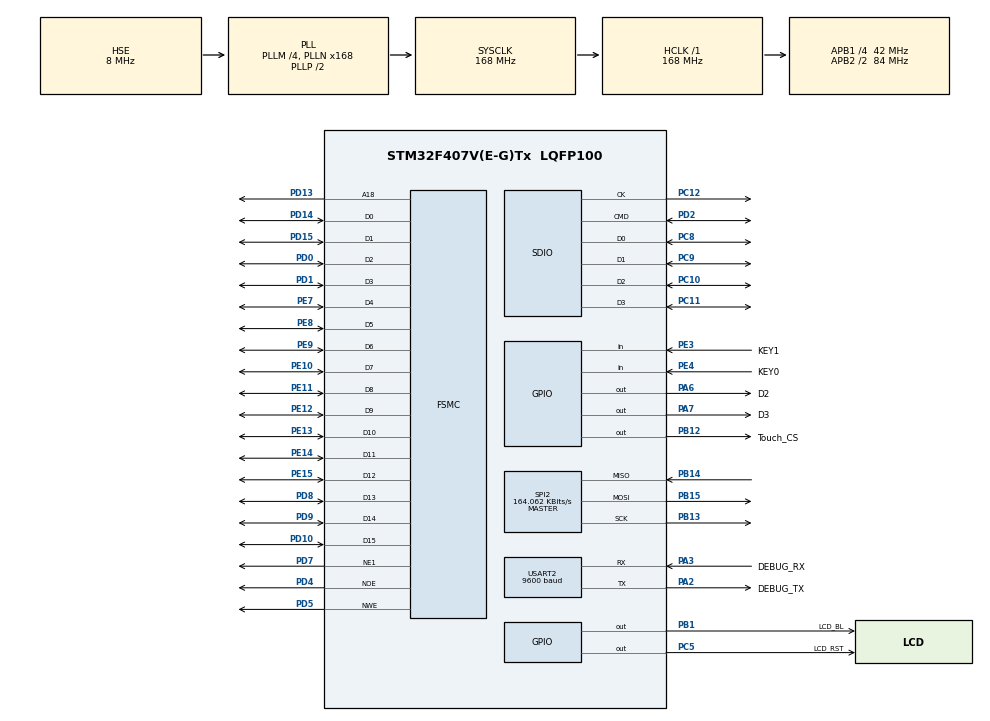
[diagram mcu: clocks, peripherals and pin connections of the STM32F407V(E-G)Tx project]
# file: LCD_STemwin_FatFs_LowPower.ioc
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FATFS.USE_DMA_CODE_SD=0
FATFS._CODE_PAGE=936
FATFS._USE_FASTSEEK=0
FATFS._USE_FIND=0
FATFS._USE_LFN=2
FSMC.AddressSetupTime1=4
FSMC.BusTurnAroundDuration1=0
FSMC.DataSetupTime1=10
Mcu.Family=STM32F4
Mcu.Name=STM32F407V(E-G)Tx
Mcu.Package=LQFP100
NVIC.PriorityGroup=NVIC_PRIORITYGROUP_4
PA0-WKUP.Mode=SYS_WakeUp0
PA0-WKUP.Signal=SYS_WKUP
PA13.Mode=Serial_Wire
PA13.Signal=SYS_JTMS-SWDIO
PA14.Mode=Serial_Wire
PA14.Signal=SYS_JTCK-SWCLK
PA2.GPIO_Label=DEBUG_TX
PA2.Mode=Asynchronous
PA2.Signal=USART2_TX
PA3.GPIO_Label=DEBUG_RX
PA3.Mode=Asynchronous
PA3.Signal=USART2_RX
PA6.GPIO_Label=D2
PA6.GPIO_Speed=GPIO_SPEED_FREQ_VERY_HIGH
PA6.Signal=GPIO_Output
PA7.GPIO_Label=D3
PA7.GPIO_Speed=GPIO_SPEED_FREQ_VERY_HIGH
PA7.Signal=GPIO_Output
PB1.GPIO_Label=LCD_BL
PB1.GPIO_Speed=GPIO_SPEED_FREQ_VERY_HIGH
PB1.Signal=GPIO_Output
PB12.GPIO_Label=Touch_CS
PB12.GPIO_Speed=GPIO_SPEED_FREQ_VERY_HIGH
PB12.Signal=GPIO_Output
PB13.Mode=Full_Duplex_Master
PB13.Signal=SPI2_SCK
PB14.Mode=Full_Duplex_Master
PB14.Signal=SPI2_MISO
PB15.Mode=Full_Duplex_Master
PB15.Signal=SPI2_MOSI
PC10.Mode=SD_4_bits_Wide_bus
PC10.Signal=SDIO_D2
PC11.Mode=SD_4_bits_Wide_bus
PC11.Signal=SDIO_D3
PC12.Mode=SD_4_bits_Wide_bus
PC12.Signal=SDIO_CK
PC14-OSC32_IN.Mode=LSE-External-Oscillator
PC14-OSC32_IN.Signal=RCC_OSC32_IN
PC15-OSC32_OUT.Mode=LSE-External-Oscillator
PC15-OSC32_OUT.Signal=RCC_OSC32_OUT
PC5.GPIO_Label=LCD_RST
PC5.GPIO_Speed=GPIO_SPEED_FREQ_VERY_HIGH
PC5.Signal=GPIO_Output
PC8.Mode=SD_4_bits_Wide_bus
PC8.Signal=SDIO_D0
PC9.Mode=SD_4_bits_Wide_bus
PC9.Signal=SDIO_D1
PD0.Mode=16b-d1
PD0.Signal=FSMC_D2
PD1.Mode=16b-d1
PD1.Signal=FSMC_D3
PD10.Mode=16b-d1
PD10.Signal=FSMC_D15
PD13.Mode=A18_1
PD13.Signal=FSMC_A18
PD14.Mode=16b-d1
PD14.Signal=FSMC_D0
PD15.Mode=16b-d1
PD15.Signal=FSMC_D1
PD2.Mode=SD_4_bits_Wide_bus
PD2.Signal=SDIO_CMD
PD4.Mode=Lcd1
PD4.Signal=FSMC_NOE
PD5.Mode=Lcd1
PD5.Signal=FSMC_NWE
PD7.Mode=NorPsramChipSelect1_1
PD7.Signal=FSMC_NE1
PD8.Mode=16b-d1
PD8.Signal=FSMC_D13
PD9.Mode=16b-d1
PD9.Signal=FSMC_D14
PE10.Mode=16b-d1
PE10.Signal=FSMC_D7
PE11.Mode=16b-d1
PE11.Signal=FSMC_D8
PE12.Mode=16b-d1
PE12.Signal=FSMC_D9
PE13.Mode=16b-d1
PE13.Signal=FSMC_D10
PE14.Mode=16b-d1
PE14.Signal=FSMC_D11
PE15.Mode=16b-d1
PE15.Signal=FSMC_D12
PE3.GPIO_Label=KEY1
PE3.Signal=GPIO_Input
PE4.GPIO_Label=KEY0
PE4.Signal=GPIO_Input
PE7.Mode=16b-d1
PE7.Signal=FSMC_D4
PE8.Mode=16b-d1
PE8.Signal=FSMC_D5
PE9.Mode=16b-d1
PE9.Signal=FSMC_D6
PH0-OSC_IN.Mode=HSE-External-Oscillator
PH0-OSC_IN.Signal=RCC_OSC_IN
PH1-OSC_OUT.Mode=HSE-External-Oscillator
PH1-OSC_OUT.Signal=RCC_OSC_OUT
ProjectManager.HeapSize=0x1000
ProjectManager.StackSize=0x1200
ProjectManager.TargetToolchain=MDK-ARM V5
RCC.48MHZClocksFreq_Value=48000000
RCC.AHBFreq_Value=168000000
RCC.APB1CLKDivider=RCC_HCLK_DIV4
RCC.APB1Freq_Value=42000000
RCC.APB1TimFreq_Value=84000000
RCC.APB2CLKDivider=RCC_HCLK_DIV2
RCC.APB2Freq_Value=84000000
RCC.APB2TimFreq_Value=168000000
RCC.CortexFreq_Value=168000000
RCC.EnbaleCSS=true
RCC.HCLKFreq_Value=168000000
RCC.HSE_VALUE=8000000
RCC.HSI_VALUE=16000000
RCC.PLLM=4
RCC.PLLN=168
RCC.PLLQ=7
RCC.PLLSourceVirtual=RCC_PLLSOURCE_HSE
RCC.SYSCLKFreq_VALUE=168000000
RCC.SYSCLKSource=RCC_SYSCLKSOURCE_PLLCLK
RCC.VCOOutputFreq_Value=336000000
SPI2.BaudRatePrescaler=SPI_BAUDRATEPRESCALER_256
SPI2.CLKPhase=SPI_PHASE_1EDGE
SPI2.CLKPolarity=SPI_POLARITY_LOW
SPI2.CalculateBaudRate=164.062 KBits/s
SPI2.Direction=SPI_DIRECTION_2LINES
SPI2.Mode=SPI_MODE_MASTER
SPI2.VirtualType=VM_MASTER
USART2.BaudRate=9600
USART2.VirtualMode=VM_ASYNC
VP_CRC_VS_CRC.Mode=CRC_Activate
VP_FATFS_VS_SDIO.Mode=SDIO
board=LCD_Drive

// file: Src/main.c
/**
  ******************************************************************************
  * @file           : main.c
  * @brief          : Main program body
  ******************************************************************************
  * This notice applies to any and all portions of this file
  * that are not between comment pairs USER CODE BEGIN and
  * USER CODE END. Other portions of this file, whether
  * inserted by the user or by software development tools
  * are owned by their respective copyright owners.
  *
  * Copyright (c) 2018 STMicroelectronics International N.V.
  * All rights reserved.
  *
  * Redistribution and use in source and binary forms, with or without
  * modification, are permitted, provided that the following conditions are met:
  *
  * 1. Redistribution of source code must retain the above copyright notice,
  *    this list of conditions and the following disclaimer.
  * 2. Redistributions in binary form must reproduce the above copyright notice,
  *    this list of conditions and the following disclaimer in the documentation
  *    and/or other materials provided with the distribution.
  * 3. Neither the name of STMicroelectronics nor the names of other
  *    contributors to this software may be used to endorse or promote products
  *    derived from this software without specific written permission.
  * 4. This software, including modifications and/or derivative works of this
  *    software, must execute solely and exclusively on microcontroller or
  *    microprocessor devices manufactured by or for STMicroelectronics.
  * 5. Redistribution and use of this software other than as permitted under
  *    this license is void and will automatically terminate your rights under
  *    this license.
  *
  * THIS SOFTWARE IS PROVIDED BY STMICROELECTRONICS AND CONTRIBUTORS "AS IS"
  * AND ANY EXPRESS, IMPLIED OR STATUTORY WARRANTIES, INCLUDING, BUT NOT
  * LIMITED TO, THE IMPLIED WARRANTIES OF MERCHANTABILITY, FITNESS FOR A
  * PARTICULAR PURPOSE AND NON-INFRINGEMENT OF THIRD PARTY INTELLECTUAL PROPERTY
  * RIGHTS ARE DISCLAIMED TO THE FULLEST EXTENT PERMITTED BY LAW. IN NO EVENT
  * SHALL STMICROELECTRONICS OR CONTRIBUTORS BE LIABLE FOR ANY DIRECT, INDIRECT,
  * INCIDENTAL, SPECIAL, EXEMPLARY, OR CONSEQUENTIAL DAMAGES (INCLUDING, BUT NOT
  * LIMITED TO, PROCUREMENT OF SUBSTITUTE GOODS OR SERVICES; LOSS OF USE, DATA,
  * OR PROFITS; OR BUSINESS INTERRUPTION) HOWEVER CAUSED AND ON ANY THEORY OF
  * LIABILITY, WHETHER IN CONTRACT, STRICT LIABILITY, OR TORT (INCLUDING
  * NEGLIGENCE OR OTHERWISE) ARISING IN ANY WAY OUT OF THE USE OF THIS SOFTWARE,
  * EVEN IF ADVISED OF THE POSSIBILITY OF SUCH DAMAGE.
  *
  ******************************************************************************
  */
#include "main.h"
#include "stm32f4xx_hal.h"
#include "fatfs.h"

/* USER CODE BEGIN Includes */
#include "bsp_driver_sd.h"
/* USER CODE END Includes */

CRC_HandleTypeDef hcrc;

SD_HandleTypeDef hsd;

SPI_HandleTypeDef hspi2;

UART_HandleTypeDef huart2;

SRAM_HandleTypeDef hsram1;

/* USER CODE BEGIN PV */
/* Private variables ---------------------------------------------------------*/

/* USER CODE END PV */

void SystemClock_Config(void);
static void MX_GPIO_Init(void);
void MX_USART2_UART_Init(void);
void MX_FSMC_Init(void);
void MX_CRC_Init(void);
void MX_SPI2_Init(void);
void MX_SDIO_SD_Init(void);

/* USER CODE BEGIN PFP */
/* Private function prototypes -----------------------------------------------*/
uint8_t Check_WKUP(void);
void GPIO_Analog(void);
/* USER CODE END PFP */

int main(void)
{

  /* MCU Configuration----------------------------------------------------------*/

  /* Reset of all peripherals, Initializes the Flash interface and the Systick. */
  HAL_Init();

  /* Configure the system clock */
  SystemClock_Config();

  /* Initialize all configured peripherals */
  MX_GPIO_Init();
  MX_USART2_UART_Init();
  MX_FSMC_Init();
  MX_CRC_Init();
  MX_SPI2_Init();
  /* USER CODE BEGIN 2 */
  MX_SDIO_SD_Init();
		BSP_SD_Init();
		MX_FATFS_Init();

		if ( Check_WKUP() == 0 )
					{
						HAL_PWR_EnableWakeUpPin(PWR_WAKEUP_PIN1);
						GPIO_Analog();
						HAL_PWR_EnterSTANDBYMode();
					}

  /* USER CODE END 2 */

  /* Infinite loop */
  while (1)
  {

  /* USER CODE BEGIN 3 */
  HAL_GPIO_TogglePin(GPIOA, D2_Pin|D3_Pin);
		HAL_Delay(500);
  }
  /* USER CODE END 3 */

}

void SystemClock_Config(void)
{

  RCC_OscInitTypeDef RCC_OscInitStruct;
  RCC_ClkInitTypeDef RCC_ClkInitStruct;

    /**Configure the main internal regulator output voltage
    */
  __HAL_RCC_PWR_CLK_ENABLE();

  __HAL_PWR_VOLTAGESCALING_CONFIG(PWR_REGULATOR_VOLTAGE_SCALE1);

    /**Initializes the CPU, AHB and APB busses clocks
    */
  RCC_OscInitStruct.OscillatorType = RCC_OSCILLATORTYPE_HSE;
  RCC_OscInitStruct.HSEState = RCC_HSE_ON;
  RCC_OscInitStruct.PLL.PLLState = RCC_PLL_ON;
  RCC_OscInitStruct.PLL.PLLSource = RCC_PLLSOURCE_HSE;
  RCC_OscInitStruct.PLL.PLLM = 4;
  RCC_OscInitStruct.PLL.PLLN = 168;
  RCC_OscInitStruct.PLL.PLLP = RCC_PLLP_DIV2;
  RCC_OscInitStruct.PLL.PLLQ = 7;
  if (HAL_RCC_OscConfig(&RCC_OscInitStruct) != HAL_OK)
  {
    _Error_Handler(__FILE__, __LINE__);
  }

    /**Initializes the CPU, AHB and APB busses clocks
    */
  RCC_ClkInitStruct.ClockType = RCC_CLOCKTYPE_HCLK|RCC_CLOCKTYPE_SYSCLK
                              |RCC_CLOCKTYPE_PCLK1|RCC_CLOCKTYPE_PCLK2;
  RCC_ClkInitStruct.SYSCLKSource = RCC_SYSCLKSOURCE_PLLCLK;
  RCC_ClkInitStruct.AHBCLKDivider = RCC_SYSCLK_DIV1;
  RCC_ClkInitStruct.APB1CLKDivider = RCC_HCLK_DIV4;
  RCC_ClkInitStruct.APB2CLKDivider = RCC_HCLK_DIV2;

  if (HAL_RCC_ClockConfig(&RCC_ClkInitStruct, FLASH_LATENCY_5) != HAL_OK)
  {
    _Error_Handler(__FILE__, __LINE__);
  }

    /**Enables the Clock Security System
    */
  HAL_RCC_EnableCSS();

    /**Configure the Systick interrupt time
    */
  HAL_SYSTICK_Config(HAL_RCC_GetHCLKFreq()/1000);

    /**Configure the Systick
    */
  HAL_SYSTICK_CLKSourceConfig(SYSTICK_CLKSOURCE_HCLK);

  /* SysTick_IRQn interrupt configuration */
  HAL_NVIC_SetPriority(SysTick_IRQn, 0, 0);
}

/* CRC init function */
void MX_CRC_Init(void)
{

  hcrc.Instance = CRC;
  if (HAL_CRC_Init(&hcrc) != HAL_OK)
  {
    _Error_Handler(__FILE__, __LINE__);
  }

}

/* SDIO init function */
void MX_SDIO_SD_Init(void)
{

  hsd.Instance = SDIO;
  hsd.Init.ClockEdge = SDIO_CLOCK_EDGE_RISING;
  hsd.Init.ClockBypass = SDIO_CLOCK_BYPASS_DISABLE;
  hsd.Init.ClockPowerSave = SDIO_CLOCK_POWER_SAVE_DISABLE;
  hsd.Init.BusWide = SDIO_BUS_WIDE_1B;
  hsd.Init.HardwareFlowControl = SDIO_HARDWARE_FLOW_CONTROL_DISABLE;
  hsd.Init.ClockDiv = 0;

}

/* SPI2 init function */
void MX_SPI2_Init(void)
{

  /* SPI2 parameter configuration*/
  hspi2.Instance = SPI2;
  hspi2.Init.Mode = SPI_MODE_MASTER;
  hspi2.Init.Direction = SPI_DIRECTION_2LINES;
  hspi2.Init.DataSize = SPI_DATASIZE_8BIT;
  hspi2.Init.CLKPolarity = SPI_POLARITY_LOW;
  hspi2.Init.CLKPhase = SPI_PHASE_1EDGE;
  hspi2.Init.NSS = SPI_NSS_SOFT;
  hspi2.Init.BaudRatePrescaler = SPI_BAUDRATEPRESCALER_256;
  hspi2.Init.FirstBit = SPI_FIRSTBIT_MSB;
  hspi2.Init.TIMode = SPI_TIMODE_DISABLE;
  hspi2.Init.CRCCalculation = SPI_CRCCALCULATION_DISABLE;
  hspi2.Init.CRCPolynomial = 10;
  if (HAL_SPI_Init(&hspi2) != HAL_OK)
  {
    _Error_Handler(__FILE__, __LINE__);
  }

}

/* USART2 init function */
void MX_USART2_UART_Init(void)
{

  huart2.Instance = USART2;
  huart2.Init.BaudRate = 9600;
  huart2.Init.WordLength = UART_WORDLENGTH_8B;
  huart2.Init.StopBits = UART_STOPBITS_1;
  huart2.Init.Parity = UART_PARITY_NONE;
  huart2.Init.Mode = UART_MODE_TX_RX;
  huart2.Init.HwFlowCtl = UART_HWCONTROL_NONE;
  huart2.Init.OverSampling = UART_OVERSAMPLING_16;
  if (HAL_UART_Init(&huart2) != HAL_OK)
  {
    _Error_Handler(__FILE__, __LINE__);
  }

}

/** Configure pins as
        * Analog
        * Input
        * Output
        * EVENT_OUT
        * EXTI
*/
static void MX_GPIO_Init(void)
{

  GPIO_InitTypeDef GPIO_InitStruct;

  /* GPIO Ports Clock Enable */
  __HAL_RCC_GPIOE_CLK_ENABLE();
  __HAL_RCC_GPIOC_CLK_ENABLE();
  __HAL_RCC_GPIOH_CLK_ENABLE();
  __HAL_RCC_GPIOA_CLK_ENABLE();
  __HAL_RCC_GPIOB_CLK_ENABLE();
  __HAL_RCC_GPIOD_CLK_ENABLE();

  /*Configure GPIO pin Output Level */
  HAL_GPIO_WritePin(GPIOA, D2_Pin|D3_Pin, GPIO_PIN_RESET);

  /*Configure GPIO pin Output Level */
  HAL_GPIO_WritePin(LCD_RST_GPIO_Port, LCD_RST_Pin, GPIO_PIN_RESET);

  /*Configure GPIO pin Output Level */
  HAL_GPIO_WritePin(GPIOB, LCD_BL_Pin|Touch_CS_Pin, GPIO_PIN_RESET);

  /*Configure GPIO pins : KEY1_Pin KEY0_Pin */
  GPIO_InitStruct.Pin = KEY1_Pin|KEY0_Pin;
  GPIO_InitStruct.Mode = GPIO_MODE_INPUT;
  GPIO_InitStruct.Pull = GPIO_NOPULL;
  HAL_GPIO_Init(GPIOE, &GPIO_InitStruct);

  /*Configure GPIO pins : D2_Pin D3_Pin */
  GPIO_InitStruct.Pin = D2_Pin|D3_Pin;
  GPIO_InitStruct.Mode = GPIO_MODE_OUTPUT_PP;
  GPIO_InitStruct.Pull = GPIO_NOPULL;
  GPIO_InitStruct.Speed = GPIO_SPEED_FREQ_VERY_HIGH;
  HAL_GPIO_Init(GPIOA, &GPIO_InitStruct);

  /*Configure GPIO pin : LCD_RST_Pin */
  GPIO_InitStruct.Pin = LCD_RST_Pin;
  GPIO_InitStruct.Mode = GPIO_MODE_OUTPUT_PP;
  GPIO_InitStruct.Pull = GPIO_NOPULL;
  GPIO_InitStruct.Speed = GPIO_SPEED_FREQ_VERY_HIGH;
  HAL_GPIO_Init(LCD_RST_GPIO_Port, &GPIO_InitStruct);

  /*Configure GPIO pins : LCD_BL_Pin Touch_CS_Pin */
  GPIO_InitStruct.Pin = LCD_BL_Pin|Touch_CS_Pin;
  GPIO_InitStruct.Mode = GPIO_MODE_OUTPUT_PP;
  GPIO_InitStruct.Pull = GPIO_NOPULL;
  GPIO_InitStruct.Speed = GPIO_SPEED_FREQ_VERY_HIGH;
  HAL_GPIO_Init(GPIOB, &GPIO_InitStruct);

}

/* FSMC initialization function */
static void MX_FSMC_Init(void)
{
  FSMC_NORSRAM_TimingTypeDef Timing;

  /** Perform the SRAM1 memory initialization sequence
  */
  hsram1.Instance = FSMC_NORSRAM_DEVICE;
  hsram1.Extended = FSMC_NORSRAM_EXTENDED_DEVICE;
  /* hsram1.Init */
  hsram1.Init.NSBank = FSMC_NORSRAM_BANK1;
  hsram1.Init.DataAddressMux = FSMC_DATA_ADDRESS_MUX_DISABLE;
  hsram1.Init.MemoryType = FSMC_MEMORY_TYPE_SRAM;
  hsram1.Init.MemoryDataWidth = FSMC_NORSRAM_MEM_BUS_WIDTH_16;
  hsram1.Init.BurstAccessMode = FSMC_BURST_ACCESS_MODE_DISABLE;
  hsram1.Init.WaitSignalPolarity = FSMC_WAIT_SIGNAL_POLARITY_LOW;
  hsram1.Init.WrapMode = FSMC_WRAP_MODE_DISABLE;
  hsram1.Init.WaitSignalActive = FSMC_WAIT_TIMING_BEFORE_WS;
  hsram1.Init.WriteOperation = FSMC_WRITE_OPERATION_ENABLE;
  hsram1.Init.WaitSignal = FSMC_WAIT_SIGNAL_DISABLE;
  hsram1.Init.ExtendedMode = FSMC_EXTENDED_MODE_DISABLE;
  hsram1.Init.AsynchronousWait = FSMC_ASYNCHRONOUS_WAIT_DISABLE;
  hsram1.Init.WriteBurst = FSMC_WRITE_BURST_DISABLE;
  hsram1.Init.PageSize = FSMC_PAGE_SIZE_NONE;
  /* Timing */
  Timing.AddressSetupTime = 4;
  Timing.AddressHoldTime = 15;
  Timing.DataSetupTime = 10;
  Timing.BusTurnAroundDuration = 0;
  Timing.CLKDivision = 16;
  Timing.DataLatency = 17;
  Timing.AccessMode = FSMC_ACCESS_MODE_A;
  /* ExtTiming */

  if (HAL_SRAM_Init(&hsram1, &Timing, NULL) != HAL_OK)
  {
    _Error_Handler(__FILE__, __LINE__);
  }

}

/* USER CODE BEGIN 4 */

//检测WKUP脚的信号
//返回值1:连续按下3s以上
//      0:错误的触发
uint8_t Check_WKUP(void)
{
	 uint8_t t=0;	//记录按下的时间
		while(1)
		{

				if( HAL_GPIO_ReadPin(GPIOA,GPIO_PIN_0) !=GPIO_PIN_RESET )
				{
						t++;			//已经按下了
						HAL_Delay(30);
						if(t>=100)		//按下超过3秒钟
						{
							return 1; 	//按下3s以上了
						}
				}
				else
				{
					return 0; //按下不足3秒
				}

		}
}

void GPIO_Analog(void)
{
  GPIO_InitTypeDef GPIO_InitStruct;

  /* GPIO Ports Clock Enable */
  __HAL_RCC_GPIOE_CLK_ENABLE();
  __HAL_RCC_GPIOC_CLK_ENABLE();
  __HAL_RCC_GPIOH_CLK_ENABLE();
  __HAL_RCC_GPIOA_CLK_ENABLE();
  __HAL_RCC_GPIOB_CLK_ENABLE();
  __HAL_RCC_GPIOD_CLK_ENABLE();

  GPIO_InitStruct.Pin  = GPIO_PIN_All;
  GPIO_InitStruct.Mode = GPIO_MODE_ANALOG;
  GPIO_InitStruct.Pull = GPIO_NOPULL;

  HAL_GPIO_Init(GPIOE, &GPIO_InitStruct);
  HAL_GPIO_Init(GPIOC, &GPIO_InitStruct);
  HAL_GPIO_Init(GPIOH, &GPIO_InitStruct);
  HAL_GPIO_Init(GPIOA, &GPIO_InitStruct);
  HAL_GPIO_Init(GPIOB, &GPIO_InitStruct);
  HAL_GPIO_Init(GPIOD, &GPIO_InitStruct);

		__HAL_RCC_GPIOE_CLK_DISABLE();
  __HAL_RCC_GPIOC_CLK_DISABLE();
  __HAL_RCC_GPIOH_CLK_DISABLE();
  __HAL_RCC_GPIOA_CLK_DISABLE();
  __HAL_RCC_GPIOB_CLK_DISABLE();
  __HAL_RCC_GPIOD_CLK_DISABLE();
}

/* USER CODE END 4 */

void _Error_Handler(char *file, int line)
{
  while(1)
  {
  }
}

/************************ (C) COPYRIGHT STMicroelectronics *****END OF FILE****/
